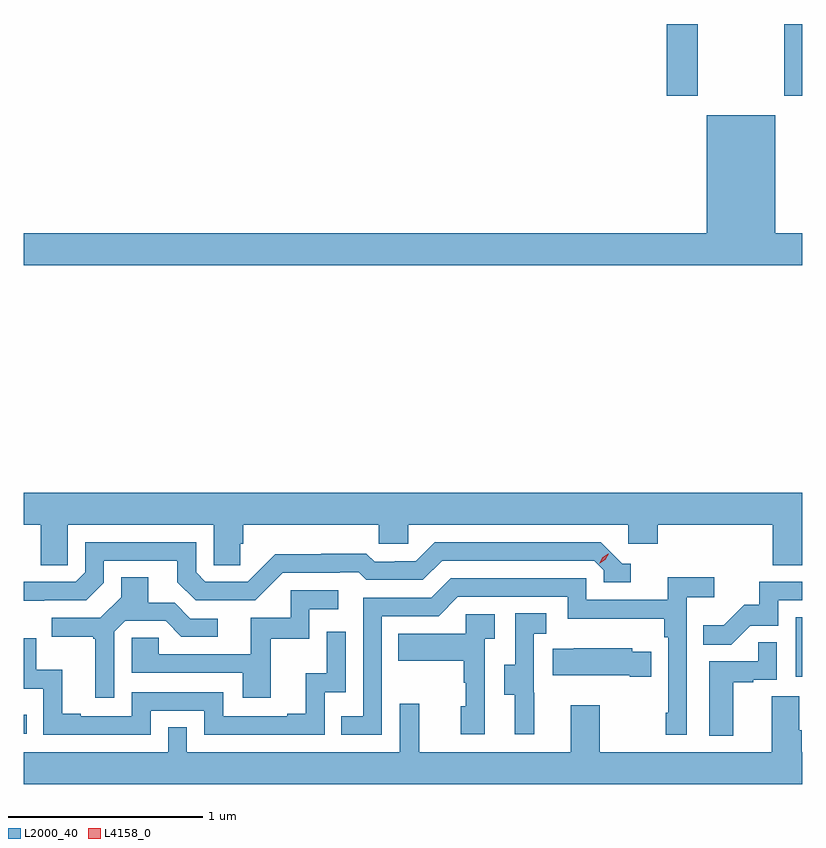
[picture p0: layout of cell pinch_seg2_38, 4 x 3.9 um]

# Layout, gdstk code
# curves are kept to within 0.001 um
import gdstk
lib = gdstk.Library(unit=1e-6, precision=1e-09)
def R(c, l, rs):  # rectangles x0, y0, x1, y1
    for r in rs: c.add(gdstk.rectangle(r[:2], r[2:], *l))
def P(c, l, *ps):  # polygons
    for p in ps: c.add(gdstk.Polygon(p, *l))
L2000_40 = (2000, 40)
L4158_0 = (4158, 0)

pinch_seg2_38 = lib.new_cell('pinch_seg2_38')
R(pinch_seg2_38, L2000_40, [(1116.218,649.227,1116.233,649.324), (1120.184,649.518,1120.218,649.825), (1119.521,652.503,1119.681,652.872), (1120.126,652.503,1120.218,652.872)])
P(pinch_seg2_38, L2000_40, [(1120.218,651.796),(1120.078,651.796),(1120.078,652.402),(1119.728,652.402),(1119.728,651.796),(1116.218,651.796),(1116.218,651.632),(1120.218,651.632)],
  [(1116.444,650.3),(1117.194,650.3),(1117.194,650.092),(1117.331,650.092),(1117.331,650.202),(1117.346,650.202),(1117.346,650.3),(1118.043,650.3),(1118.043,650.202),(1118.193,650.202),(1118.193,650.3),(1119.324,650.3),(1119.324,650.202),(1119.476,650.202),(1119.476,650.3),(1120.067,650.3),(1120.067,650.092),(1120.218,650.092),(1120.218,650.464),(1116.218,650.464),(1116.218,650.3),(1116.305,650.3),(1116.305,650.092),(1116.444,650.092)],
  [(1116.324,649.911),(1116.54,649.911),(1116.63,650.001),(1116.63,650.115),(1117.007,650.115),(1117.007,650.005),(1117.101,649.911),(1117.407,649.911),(1117.548,650.052),(1117.841,650.052),(1117.841,650.055),(1117.94,650.055),(1117.979,650.016),(1118.268,650.016),(1118.367,650.115),(1119.15,650.115),(1119.198,650.067),(1119.198,650.004),(1119.337,650.004),(1119.337,650.1),(1119.294,650.1),(1119.183,650.211),(1118.33,650.211),(1118.231,650.112),(1118.124,650.112),(1118.124,650.109),(1118.021,650.109),(1117.979,650.152),(1117.746,650.152),(1117.746,650.149),(1117.51,650.149),(1117.368,650.007),(1117.152,650.007),(1117.104,650.055),(1117.104,650.211),(1116.534,650.211),(1116.534,650.055),(1116.486,650.007),(1116.218,650.007),(1116.218,649.91)],
  [(1116.684,649.749),(1116.741,649.806),(1116.947,649.806),(1117.028,649.725),(1117.216,649.725),(1117.216,649.818),(1117.074,649.818),(1116.994,649.898),(1116.859,649.898),(1116.859,650.03),(1116.719,650.03),(1116.719,649.928),(1116.612,649.821),(1116.363,649.821),(1116.363,649.724),(1116.576,649.724),(1116.576,649.713),(1116.587,649.713),(1116.587,649.41),(1116.684,649.41)],
  [(1118.058,649.83),(1118.349,649.83),(1118.448,649.929),(1119.012,649.929),(1119.012,649.817),(1119.508,649.817),(1119.508,649.721),(1119.528,649.721),(1119.528,649.333),(1119.516,649.333),(1119.516,649.221),(1119.624,649.221),(1119.624,649.928),(1119.766,649.928),(1119.766,650.03),(1119.527,650.03),(1119.527,649.914),(1119.108,649.914),(1119.108,650.025),(1118.411,650.025),(1118.312,649.926),(1117.962,649.926),(1117.962,649.317),(1117.849,649.317),(1117.849,649.221),(1118.058,649.221)],
  [(1119.95,649.782),(1120.095,649.782),(1120.095,649.911),(1120.218,649.911),(1120.218,650.007),(1119.997,650.007),(1119.997,649.89),(1119.92,649.89),(1119.813,649.783),(1119.709,649.783),(1119.709,649.684),(1119.852,649.684)],
  [(1117.487,649.713),(1117.686,649.713),(1117.686,649.866),(1117.834,649.866),(1117.834,649.962),(1117.59,649.962),(1117.59,649.821),(1117.385,649.821),(1117.385,649.635),(1116.911,649.635),(1116.911,649.719),(1116.774,649.719),(1116.774,649.539),(1117.343,649.539),(1117.343,649.41),(1117.487,649.41)],
  [(1118.84,649.437),(1118.838,649.437),(1118.838,649.741),(1118.902,649.741),(1118.902,649.844),(1118.742,649.844),(1118.742,649.581),(1118.687,649.581),(1118.687,649.426),(1118.741,649.426),(1118.741,649.224),(1118.84,649.224)],
  [(1118.586,649.715),(1118.638,649.715),(1118.638,649.839),(1118.49,649.839),(1118.49,649.741),(1118.143,649.741),(1118.143,649.601),(1118.478,649.601),(1118.478,649.487),(1118.488,649.487),(1118.488,649.368),(1118.462,649.368),(1118.462,649.224),(1118.586,649.224)],
  [(1116.87,649.344),(1117.146,649.344),(1117.146,649.221),(1117.764,649.221),(1117.764,649.44),(1117.872,649.44),(1117.872,649.75),(1117.776,649.75),(1117.776,649.538),(1117.667,649.538),(1117.667,649.33),(1117.571,649.33),(1117.571,649.317),(1117.242,649.317),(1117.242,649.44),(1116.774,649.44),(1116.774,649.317),(1116.511,649.317),(1116.511,649.33),(1116.415,649.33),(1116.415,649.555),(1116.282,649.555),(1116.282,649.716),(1116.218,649.716),(1116.218,649.457),(1116.318,649.457),(1116.318,649.221),(1116.87,649.221)],
  [(1119.862,649.491),(1119.965,649.491),(1119.965,649.503),(1120.086,649.503),(1120.086,649.697),(1119.991,649.697),(1119.991,649.599),(1119.74,649.599),(1119.74,649.217),(1119.862,649.217)],
  [(1119.443,649.648),(1119.345,649.648),(1119.345,649.666),(1119.043,649.666),(1119.043,649.663),(1118.935,649.663),(1118.935,649.526),(1119.332,649.526),(1119.332,649.519),(1119.443,649.519)],
  [(1120.218,649.132),(1120.214,649.132),(1120.214,649.244),(1120.201,649.244),(1120.201,649.418),(1120.061,649.418),(1120.061,649.132),(1119.177,649.132),(1119.177,649.372),(1119.029,649.372),(1119.029,649.132),(1118.249,649.132),(1118.249,649.381),(1118.151,649.381),(1118.151,649.132),(1117.056,649.132),(1117.056,649.259),(1116.96,649.259),(1116.96,649.132),(1116.218,649.132),(1116.218,648.968),(1120.218,648.968)])
P(pinch_seg2_38, L4158_0, [(1119.175,650.1),(1119.175,650.1),(1119.192,650.133),(1119.222,650.152),(1119.223,650.152),(1119.223,650.151),(1119.206,650.119),(1119.175,650.1)])

lib.write_gds('pinch_seg2_38.gds')
